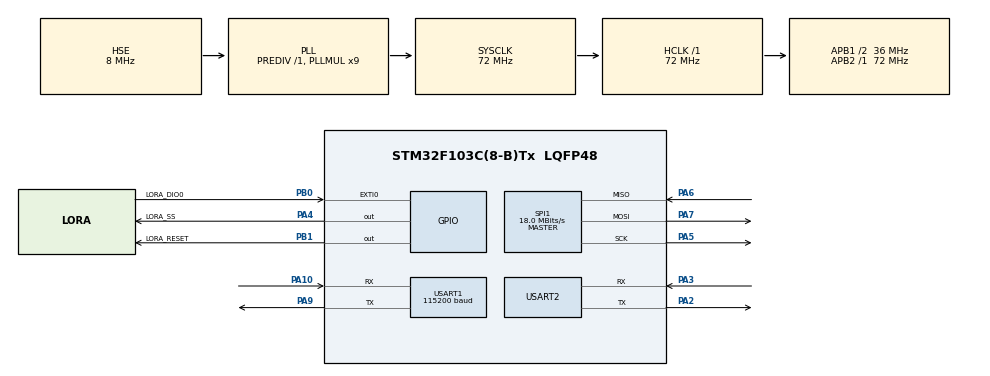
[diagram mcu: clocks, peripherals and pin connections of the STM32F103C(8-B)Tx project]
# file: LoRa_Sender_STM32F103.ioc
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Mcu.Family=STM32F1
Mcu.Name=STM32F103C(8-B)Tx
Mcu.Package=LQFP48
NVIC.PriorityGroup=NVIC_PRIORITYGROUP_4
NVIC.SPI1_IRQn=true\:0\:0\:false\:false\:true\:true\:true\:true
PA10.Mode=Asynchronous
PA10.Signal=USART1_RX
PA2.Mode=Asynchronous
PA2.Signal=USART2_TX
PA3.Mode=Asynchronous
PA3.Signal=USART2_RX
PA4.GPIO_Label=LORA_SS
PA4.Signal=GPIO_Output
PA5.Mode=Full_Duplex_Master
PA5.Signal=SPI1_SCK
PA6.Mode=Full_Duplex_Master
PA6.Signal=SPI1_MISO
PA7.Mode=Full_Duplex_Master
PA7.Signal=SPI1_MOSI
PA9.Mode=Asynchronous
PA9.Signal=USART1_TX
PB0.GPIO_Label=LORA_DIO0
PB0.Signal=GPXTI0
PB1.GPIO_Label=LORA_RESET
PB1.Signal=GPIO_Output
PD0-OSC_IN.Mode=HSE-External-Oscillator
PD0-OSC_IN.Signal=RCC_OSC_IN
PD1-OSC_OUT.Mode=HSE-External-Oscillator
PD1-OSC_OUT.Signal=RCC_OSC_OUT
ProjectManager.HeapSize=0x200
ProjectManager.StackSize=0x400
ProjectManager.TargetToolchain=STM32CubeIDE
RCC.AHBFreq_Value=72000000
RCC.APB1CLKDivider=RCC_HCLK_DIV2
RCC.APB1Freq_Value=36000000
RCC.APB1TimFreq_Value=72000000
RCC.APB2Freq_Value=72000000
RCC.APB2TimFreq_Value=72000000
RCC.HCLKFreq_Value=72000000
RCC.PLLMUL=RCC_PLL_MUL9
RCC.PLLSourceVirtual=RCC_PLLSOURCE_HSE
RCC.SYSCLKFreq_VALUE=72000000
RCC.SYSCLKSource=RCC_SYSCLKSOURCE_PLLCLK
RCC.USBFreq_Value=72000000
SPI1.BaudRatePrescaler=SPI_BAUDRATEPRESCALER_4
SPI1.CalculateBaudRate=18.0 MBits/s
SPI1.Direction=SPI_DIRECTION_2LINES
SPI1.Mode=SPI_MODE_MASTER
SPI1.VirtualType=VM_MASTER
USART1.BaudRate=115200
USART1.VirtualMode=VM_ASYNC
USART2.VirtualMode=VM_ASYNC
VP_SYS_VS_ND.Mode=No_Debug
board=custom

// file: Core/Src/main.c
/* USER CODE BEGIN Header */
/**
 ******************************************************************************
 * @file           : main.c
 * @brief          : Main program body
 ******************************************************************************
 * @attention
 *
 * Copyright (c) 2026 STMicroelectronics.
 * All rights reserved.
 *
 * This software is licensed under terms that can be found in the LICENSE file
 * in the root directory of this software component.
 * If no LICENSE file comes with this software, it is provided AS-IS.
 *
 ******************************************************************************
 */
/* USER CODE END Header */
#include "main.h"

/* USER CODE BEGIN Includes */
#include "LoRa.h"
#include <string.h>
#include <stdio.h>
/* USER CODE END Includes */

SPI_HandleTypeDef hspi1;

UART_HandleTypeDef huart1;
UART_HandleTypeDef huart2;

/* USER CODE BEGIN PV */
LoRa myLoRa;
uint8_t read_data[128];
uint8_t send_data[128];
int RSSI;
volatile uint8_t lora_rx_done = 0;

/* USER CODE END PV */

void SystemClock_Config(void);
static void MX_GPIO_Init(void);
static void MX_USART1_UART_Init(void);
static void MX_SPI1_Init(void);
static void MX_USART2_UART_Init(void);

int main(void)
{

  /* MCU Configuration--------------------------------------------------------*/

  /* Reset of all peripherals, Initializes the Flash interface and the Systick. */
  HAL_Init();

  /* Configure the system clock */
  SystemClock_Config();

  /* Initialize all configured peripherals */
  MX_GPIO_Init();
  MX_USART1_UART_Init();
  MX_SPI1_Init();
  MX_USART2_UART_Init();
  /* USER CODE BEGIN 2 */
	// MODULE SETTINGS ----------------------------------------------
	myLoRa = newLoRa();

	myLoRa.hSPIx = &hspi1;
	myLoRa.CS_port = LORA_SS_GPIO_Port;
	myLoRa.CS_pin = LORA_SS_Pin;
	myLoRa.reset_port = LORA_RESET_GPIO_Port;
	myLoRa.reset_pin = LORA_RESET_Pin;
	myLoRa.DIO0_port = LORA_DIO0_GPIO_Port;
	myLoRa.DIO0_pin = LORA_DIO0_Pin;

	myLoRa.frequency = 865;		// default = 433 MHz
	myLoRa.spredingFactor = SF_12;// default = SF_7
	myLoRa.bandWidth = BW_125KHz;// default = BW_125KHz
	myLoRa.crcRate = CR_4_5;// default = CR_4_5
	myLoRa.power = POWER_20db;// default = 20db
	myLoRa.overCurrentProtection = 120;// default = 100 mA
	myLoRa.preamble = 10;// default = 8;

	LoRa_reset(&myLoRa);
	if(LoRa_init(&myLoRa) == LORA_OK){
		HAL_UART_Transmit(&huart1, "LoRa Init Succsess\r\n", sizeof("LoRa Init Succsess\r\n"), 100);
	}else{
		HAL_UART_Transmit(&huart1, "LoRa Init error\r\n", sizeof("LoRa Init error\r\n"), 100);
	}

	// START CONTINUOUS RECEIVING -----------------------------------
	LoRa_startReceiving(&myLoRa);
	//---------------------------------------------------------------

  /* USER CODE END 2 */

  /* Infinite loop */
  /* USER CODE BEGIN WHILE */
while (1)
  {
/*
		// SENDING DATA - - - - - - - - - - - - - - - - - - - - - - - - -
		HAL_UART_Transmit(&huart1, "Sending Data\r\n", sizeof("Sending Data\r\n"), 100);
		send_data[0] = 0x3B; // MY ADDRESS
		for (int i = 0; i < 26; i++)
			send_data[i + 1] = 48 + i;
		LoRa_transmit(&myLoRa, send_data, 128, 500);
		HAL_Delay(1500);

		// RECEIVING DATA - - - - - - - - - - - - - - - - - - - - - - - -
		LoRa_receive(&myLoRa, read_data, 128);
    /* USER CODE END WHILE */

    /* USER CODE BEGIN 3 */

	//}
  /* USER CODE END 3 */
//}*/

/* SENDING DATA - - - - - - - - - - - - - - - - - - - - - - - - -
		HAL_UART_Transmit(&huart1, "Sending Data\r\n", sizeof("Sending Data\r\n"), 100);

		// Clear previous data
		memset(send_data, 0, sizeof(send_data));

		// Create whatever message you want here!
		sprintf((char *)send_data, "Hello Tejas");

		// Transmit precisely the length of the string
		LoRa_transmit(&myLoRa, send_data, strlen((char *)send_data), 500);
		HAL_Delay(1500);

		// RECEIVING DATA - - - - - - - - - - - - - - - - - - - - - - - -
		LoRa_receive(&myLoRa, read_data, 128);
		/* USER CODE END WHILE */

		/* USER CODE BEGIN 3 */

	//}
	/* USER CODE END 3 */
//}*/

// SENDING DATA Counter Code- - - - - - - - - - - - - - - - - - - - - - - - -
		HAL_UART_Transmit(&huart1, "Sending Data\r\n", sizeof("Sending Data\r\n"), 100);
		// 1. Create a counter that remembers its value because of 'static'
		static int counter = 0;

		// 2. Clear old data from the array
		memset(send_data, 0, sizeof(send_data));

		uint8_t Tx_Buffer[20];
		Tx_Buffer[0] = 0;
		Tx_Buffer[1] = 10;
		// Register 1: Let's send the number 20
		Tx_Buffer[2] = 0;
		Tx_Buffer[3] = 20;
		// Register 2: Let's send the number 30
		Tx_Buffer[4] = 0;
		Tx_Buffer[5] = 30;
		// Register 3: Let's send the number 40
		Tx_Buffer[6] = 0;
		Tx_Buffer[7] = 40;
		// Register 4: Let's send the number 50
		Tx_Buffer[8] = 0;
		Tx_Buffer[9] = 50;
		// Register 5: Let's send the number 60
		Tx_Buffer[10] = 0;
		Tx_Buffer[11] = 60;
		// Register 6: Let's send the number 70
		Tx_Buffer[12] = 0;
		Tx_Buffer[13] = 70;
		// Register 7: Let's send the number 80
		Tx_Buffer[14] = 0;
		Tx_Buffer[15] = 80;
		// Register 8: Let's send the number 90
		Tx_Buffer[16] = 0;
		Tx_Buffer[17] = 90;
		// Register 9: Let's send the number 100
		Tx_Buffer[18] = 0;
		Tx_Buffer[19] = 100;

		// 3. Insert the counter into your text message using '%d'
		sprintf((char *)send_data, "Hello Form:");

		// 4. Increase the counter so the next time it loops, the number is higher
		counter++;

		// 5. Transmit the new string exactly at its size
		LoRa_transmit(&myLoRa, Tx_Buffer, 20, 500);

		HAL_Delay(5000); // Wait 1.5 seconds between sending

		// RECEIVING DATA - - - - - - - - - - - - - - - - - - - - - - - -
		LoRa_receive(&myLoRa, read_data, 128);
		/* USER CODE END WHILE */

	}
}
void SystemClock_Config(void)
{
  RCC_OscInitTypeDef RCC_OscInitStruct = {0};
  RCC_ClkInitTypeDef RCC_ClkInitStruct = {0};

  /** Initializes the RCC Oscillators according to the specified parameters
  * in the RCC_OscInitTypeDef structure.
  */
  RCC_OscInitStruct.OscillatorType = RCC_OSCILLATORTYPE_HSE;
  RCC_OscInitStruct.HSEState = RCC_HSE_ON;
  RCC_OscInitStruct.HSEPredivValue = RCC_HSE_PREDIV_DIV1;
  RCC_OscInitStruct.HSIState = RCC_HSI_ON;
  RCC_OscInitStruct.PLL.PLLState = RCC_PLL_ON;
  RCC_OscInitStruct.PLL.PLLSource = RCC_PLLSOURCE_HSE;
  RCC_OscInitStruct.PLL.PLLMUL = RCC_PLL_MUL9;
  if (HAL_RCC_OscConfig(&RCC_OscInitStruct) != HAL_OK)
  {
    Error_Handler();
  }

  /** Initializes the CPU, AHB and APB buses clocks
  */
  RCC_ClkInitStruct.ClockType = RCC_CLOCKTYPE_HCLK|RCC_CLOCKTYPE_SYSCLK
                              |RCC_CLOCKTYPE_PCLK1|RCC_CLOCKTYPE_PCLK2;
  RCC_ClkInitStruct.SYSCLKSource = RCC_SYSCLKSOURCE_PLLCLK;
  RCC_ClkInitStruct.AHBCLKDivider = RCC_SYSCLK_DIV1;
  RCC_ClkInitStruct.APB1CLKDivider = RCC_HCLK_DIV2;
  RCC_ClkInitStruct.APB2CLKDivider = RCC_HCLK_DIV1;

  if (HAL_RCC_ClockConfig(&RCC_ClkInitStruct, FLASH_LATENCY_2) != HAL_OK)
  {
    Error_Handler();
  }
}

static void MX_SPI1_Init(void)
{

  /* SPI1 parameter configuration*/
  hspi1.Instance = SPI1;
  hspi1.Init.Mode = SPI_MODE_MASTER;
  hspi1.Init.Direction = SPI_DIRECTION_2LINES;
  hspi1.Init.DataSize = SPI_DATASIZE_8BIT;
  hspi1.Init.CLKPolarity = SPI_POLARITY_LOW;
  hspi1.Init.CLKPhase = SPI_PHASE_1EDGE;
  hspi1.Init.NSS = SPI_NSS_SOFT;
  hspi1.Init.BaudRatePrescaler = SPI_BAUDRATEPRESCALER_4;
  hspi1.Init.FirstBit = SPI_FIRSTBIT_MSB;
  hspi1.Init.TIMode = SPI_TIMODE_DISABLE;
  hspi1.Init.CRCCalculation = SPI_CRCCALCULATION_DISABLE;
  hspi1.Init.CRCPolynomial = 10;
  if (HAL_SPI_Init(&hspi1) != HAL_OK)
  {
    Error_Handler();
  }

}

static void MX_USART1_UART_Init(void)
{

  huart1.Instance = USART1;
  huart1.Init.BaudRate = 115200;
  huart1.Init.WordLength = UART_WORDLENGTH_8B;
  huart1.Init.StopBits = UART_STOPBITS_1;
  huart1.Init.Parity = UART_PARITY_NONE;
  huart1.Init.Mode = UART_MODE_TX_RX;
  huart1.Init.HwFlowCtl = UART_HWCONTROL_NONE;
  huart1.Init.OverSampling = UART_OVERSAMPLING_16;
  if (HAL_UART_Init(&huart1) != HAL_OK)
  {
    Error_Handler();
  }

}

static void MX_USART2_UART_Init(void)
{

  huart2.Instance = USART2;
  huart2.Init.BaudRate = 115200;
  huart2.Init.WordLength = UART_WORDLENGTH_8B;
  huart2.Init.StopBits = UART_STOPBITS_1;
  huart2.Init.Parity = UART_PARITY_NONE;
  huart2.Init.Mode = UART_MODE_TX_RX;
  huart2.Init.HwFlowCtl = UART_HWCONTROL_NONE;
  huart2.Init.OverSampling = UART_OVERSAMPLING_16;
  if (HAL_UART_Init(&huart2) != HAL_OK)
  {
    Error_Handler();
  }

}

static void MX_GPIO_Init(void)
{
  GPIO_InitTypeDef GPIO_InitStruct = {0};

  /* GPIO Ports Clock Enable */
  __HAL_RCC_GPIOD_CLK_ENABLE();
  __HAL_RCC_GPIOA_CLK_ENABLE();
  __HAL_RCC_GPIOB_CLK_ENABLE();

  /*Configure GPIO pin Output Level */
  HAL_GPIO_WritePin(LORA_SS_GPIO_Port, LORA_SS_Pin, GPIO_PIN_RESET);

  /*Configure GPIO pin Output Level */
  HAL_GPIO_WritePin(LORA_RESET_GPIO_Port, LORA_RESET_Pin, GPIO_PIN_RESET);

  /*Configure GPIO pin : LORA_SS_Pin */
  GPIO_InitStruct.Pin = LORA_SS_Pin;
  GPIO_InitStruct.Mode = GPIO_MODE_OUTPUT_PP;
  GPIO_InitStruct.Pull = GPIO_NOPULL;
  GPIO_InitStruct.Speed = GPIO_SPEED_FREQ_LOW;
  HAL_GPIO_Init(LORA_SS_GPIO_Port, &GPIO_InitStruct);

  /*Configure GPIO pin : LORA_DIO0_Pin */
  GPIO_InitStruct.Pin = LORA_DIO0_Pin;
  GPIO_InitStruct.Mode = GPIO_MODE_IT_RISING;
  GPIO_InitStruct.Pull = GPIO_NOPULL;
  HAL_GPIO_Init(LORA_DIO0_GPIO_Port, &GPIO_InitStruct);

  /*Configure GPIO pin : LORA_RESET_Pin */
  GPIO_InitStruct.Pin = LORA_RESET_Pin;
  GPIO_InitStruct.Mode = GPIO_MODE_OUTPUT_PP;
  GPIO_InitStruct.Pull = GPIO_NOPULL;
  GPIO_InitStruct.Speed = GPIO_SPEED_FREQ_LOW;
  HAL_GPIO_Init(LORA_RESET_GPIO_Port, &GPIO_InitStruct);

}

/* USER CODE BEGIN 4 */
void HAL_GPIO_EXTI_Callback(uint16_t GPIO_Pin){
	if(GPIO_Pin == myLoRa.DIO0_pin){
		LoRa_receive(&myLoRa, read_data, 128);
	}
}
/* USER CODE END 4 */

void Error_Handler(void)
{
	__disable_irq();
	while (1) {
	}
}
